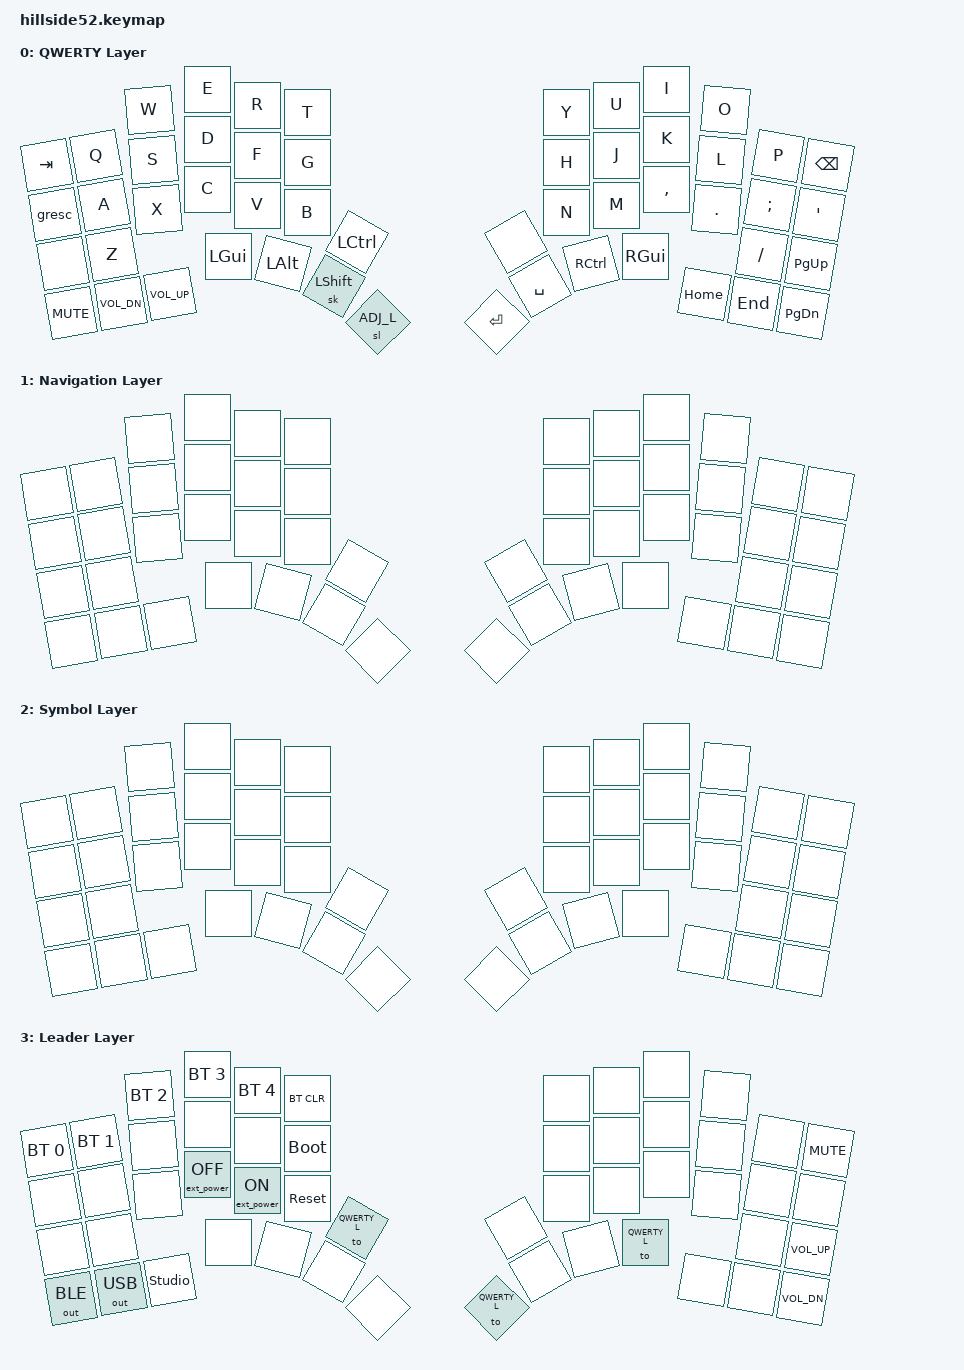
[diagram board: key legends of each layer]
#include <behaviors.dtsi>
#include <dt-bindings/zmk/keys.h>
#include <dt-bindings/zmk/bt.h>
#include <dt-bindings/zmk/ext_power.h>
#include <dt-bindings/zmk/outputs.h>

#define QWERTY_L 0
#define NAV_L    1
#define SYM_L    2
#define ADJ_L    3

/ {
    keymap {
        compatible = "zmk,keymap";

        default_layer {
            //                       ╭──────────────────────╮
            //                       │ DEFAULT / BASE LAYER │
            //                       ╰──────────────────────╯
            // ╭───────────────────────────╮         ╭───────────────────────────╮
            // │TAB  q   w   e   r   t     │         │     y   u   i   o   p BSPC│
            // │ `   a   s   d   f   g     ╰─╮     ╭─╯     h   j   k   l   ;   ' │
            // │[+]  z‌   x‌   c‌   v‌   b‌  CTR  ╰─╮ ╭─╯  [+]  n   m   ,   .   /  [+]│
            // | 🕨  🕩  🕪  ╭─╮ WIN ALT LS^ ADJ│ │ENT SPC CTR WIN ╭─╮ HME END ENT│
            // ╰────────────╯ ╰────────────────╯ ╰────────────────╯ ╰────────────╯
            display-name = "QWERTY Layer";
            bindings = <
                &kp TAB  &kp Q  &kp W  &kp E  &kp R  &kp T  &kp Y  &kp U  &kp I  &kp O  &kp P &kp BSPC
                &gresc  &kp A  &kp S  &kp D  &kp F  &kp G  &kp H  &kp J  &kp K  &kp L  &kp SEMI  &kp SQT
                &none  &kp Z  &kp X  &kp C  &kp V  &kp B  &kp N  &kp M  &kp COMMA  &kp DOT  &kp SLASH  &kp PG_UP
                &kp C_MUTE  &kp C_VOL_DN  &kp C_VOL_UP  &kp HOME  &kp END  &kp PG_DN
                &kp LGUI  &kp LALT  &sk LSHIFT  &sl ADJ_L  &kp LCTRL  &none  &kp ENTER  &kp SPACE  &kp  RCTRL  &kp RGUI
            >;
        };


        nav_layer {
            //                        ╭──────────────────╮
            //                        │ NAVIGATION LAYER │
            //                        ╰──────────────────╯
            // ╭───────────────────────────╮         ╭───────────────────────────╮
            // │___ ___ ___ ___ ___ ___    │         │    ___ ___ ___ ___ ___ ___│
            // │___ ___ ___ ___ ___ ___    ╰─╮     ╭─╯    ___ ___ ___ ___ ___ ___│
            // │___ ___ ___ ___ ___ ___ ___  ╰─╮ ╭─╯  ___ ___ ___ ___ ___ ___ ___│
            // |___ ___ ___ ╭─╮ ___ ___ ___ ___│ │___ ___ ___ ___ ╭─╮ ___ ___ ___│
            // ╰────────────╯ ╰────────────────╯ ╰────────────────╯ ╰────────────╯
            display-name = "Navigation Layer";
            bindings = <
                &none &none &none &none &none &none &none &none &none &none &none &none
                &none &none &none &none &none &none &none &none &none &none &none &none
                &none &none &none &none &none &none &none &none &none &none &none &none
                &none &none &none &none &none &none
                &none &none &none &none &none &none &none &none &none &none
            >;
        };

        symbol_layer {
            //                          ╭──────────────╮
            //                          │ SYMBOL LAYER │
            //                          ╰──────────────╯
            // ╭───────────────────────────╮         ╭───────────────────────────╮
            // │___ ___ ___ ___ ___ ___    │         │    ___ ___ ___ ___ ___ ___│
            // │___ ___ ___ ___ ___ ___    ╰─╮     ╭─╯    ___ ___ ___ ___ ___ ___│
            // │___ ___ ___ ___ ___ ___ ___  ╰─╮ ╭─╯  ___ ___ ___ ___ ___ ___ ___│
            // |___ ___ ___ ╭─╮ ___ ___ ___ ___│ │___ ___ ___ ___ ╭─╮ ___ ___ ___│
            // ╰────────────╯ ╰────────────────╯ ╰────────────────╯ ╰────────────╯
            display-name = "Symbol Layer";
            bindings = <
                &none &none &none &none &none &none &none &none &none &none &none &none
                &none &none &none &none &none &none &none &none &none &none &none &none
                &none &none &none &none &none &none &none &none &none &none &none &none
                &none &none &none &none &none &none
                &none &none &none &none &none &none &none &none &none &none
            >;
        };

        adjust_layer {
            //                          ╭──────────────╮
            //                          │ ADJUST LAYER │
            //                          ╰──────────────╯
            // ╭───────────────────────────╮         ╭───────────────────────────╮
            // │___ ___ ___ ___ ___ ___    │         │    ___ ___ ___ ___ ___ ___│
            // │___ ___ ___ ___ ___ ___    ╰─╮     ╭─╯    ___ ___ ___ ___ ___ ___│
            // │___ ___ ___ ___ ___ ___ ___  ╰─╮ ╭─╯  ___ ___ ___ ___ ___ ___ ___│
            // |___ ___ ___ ╭─╮ ___ ___ ___ ___│ │___ ___ ___ ___ ╭─╮ ___ ___ ___│
            // ╰────────────╯ ╰────────────────╯ ╰────────────────╯ ╰────────────╯
            display-name = "Leader Layer";
            bindings = <
                &bt BT_SEL 0 &bt BT_SEL 1 &bt BT_SEL 2 &bt BT_SEL 3 &bt BT_SEL 4 &bt BT_CLR &none &none &none &none &none &kp C_MUTE
                &none &none &none &none &none &bootloader &none &none &none &none &none &none
                &none &none &none &ext_power EP_OFF &ext_power EP_ON &sys_reset &none &none &none &none &none  &kp C_VOL_UP
                &out OUT_BLE &out OUT_USB &studio_unlock  &none &none &kp C_VOL_DN
                &none &none &none &none &to QWERTY_L &none &to QWERTY_L &none &none &to QWERTY_L
            >;
        };
    };
};

// / {
//     combos {
//         compatible = "zmk,combos";
//         combo_esc {
//             timeout-ms = <50>;
//             key-positions = <0 1>;
//             bindings = <&kp ESC>;
//         };
//     };
// };
